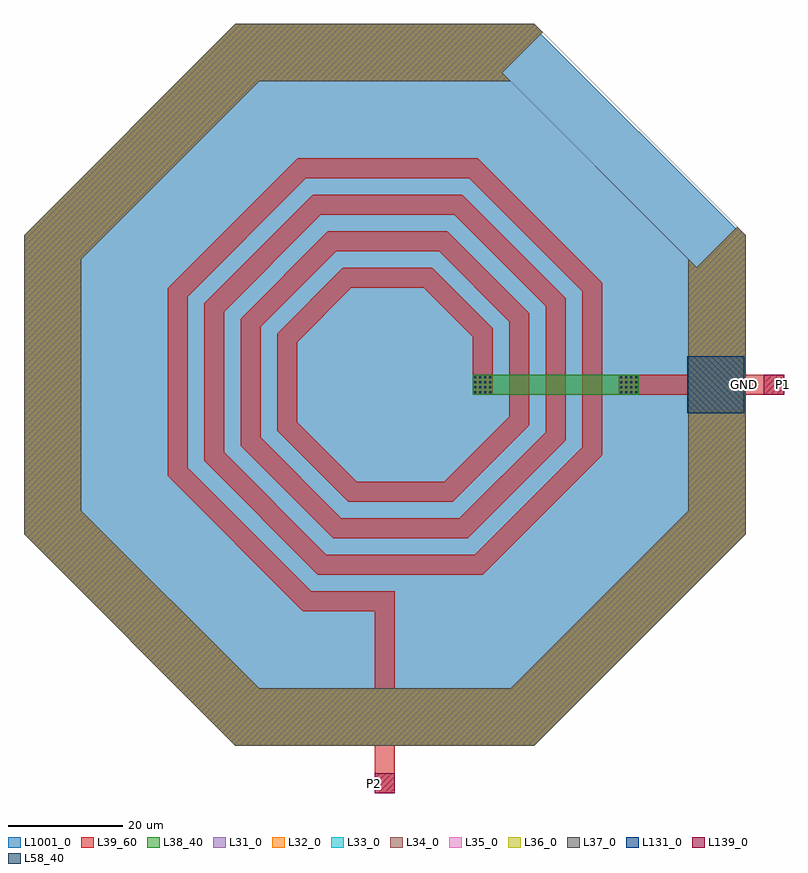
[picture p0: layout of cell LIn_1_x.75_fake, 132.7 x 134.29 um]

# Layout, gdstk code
import gdstk
lib = gdstk.Library(unit=1e-6, precision=1e-09)
def R(c, l, rs):  # rectangles x0, y0, x1, y1
    for r in rs: c.add(gdstk.rectangle(r[:2], r[2:], *l))
def A(c, l, x, y, w, h, nx, ny, dx, dy):  # array of equal rectangles
    R(c, l, [(x+i*dx, y+j*dy, x+i*dx+w, y+j*dy+h) for i in range(nx) for j in range(ny)])
def P(c, l, *ps):  # polygons
    for p in ps: c.add(gdstk.Polygon(p, *l))
L31_0 = (31, 0)
L32_0 = (32, 0)
L33_0 = (33, 0)
L34_0 = (34, 0)
L35_0 = (35, 0)
L36_0 = (36, 0)
L37_0 = (37, 0)
L38_40 = (38, 40)
L39_60 = (39, 60)
L58_40 = (58, 40)
L131_0 = (131, 0)
L139_0 = (139, 0)
L1001_0 = (1001, 0)

lin_1_x_75_fake = lib.new_cell('LIn_1_x.75_fake')
P(lin_1_x_75_fake, L31_0, [(54.473,20.492),(61.544,27.563),(26.099,63.008),(-26.099,63.008),(-63.008,26.099),(-63.008,-26.099),(-26.099,-63.008),(26.099,-63.008),(63.008,-26.099),(63.008,26.099),(27.563,61.544),(20.492,54.473),(53.008,21.957),(53.008,-21.957),(21.957,-53.008),(-21.957,-53.008),(-53.008,-21.957),(-53.008,21.957),(-21.957,53.008),(21.957,53.008)])
P(lin_1_x_75_fake, L32_0, [(54.473,20.492),(61.544,27.563),(26.099,63.008),(-26.099,63.008),(-63.008,26.099),(-63.008,-26.099),(-26.099,-63.008),(26.099,-63.008),(63.008,-26.099),(63.008,26.099),(27.563,61.544),(20.492,54.473),(53.008,21.957),(53.008,-21.957),(21.957,-53.008),(-21.957,-53.008),(-53.008,-21.957),(-53.008,21.957),(-21.957,53.008),(21.957,53.008)])
P(lin_1_x_75_fake, L33_0, [(54.473,20.492),(61.544,27.563),(26.099,63.008),(-26.099,63.008),(-63.008,26.099),(-63.008,-26.099),(-26.099,-63.008),(26.099,-63.008),(63.008,-26.099),(63.008,26.099),(27.563,61.544),(20.492,54.473),(53.008,21.957),(53.008,-21.957),(21.957,-53.008),(-21.957,-53.008),(-53.008,-21.957),(-53.008,21.957),(-21.957,53.008),(21.957,53.008)])
P(lin_1_x_75_fake, L34_0, [(54.473,20.492),(61.544,27.563),(26.099,63.008),(-26.099,63.008),(-63.008,26.099),(-63.008,-26.099),(-26.099,-63.008),(26.099,-63.008),(63.008,-26.099),(63.008,26.099),(27.563,61.544),(20.492,54.473),(53.008,21.957),(53.008,-21.957),(21.957,-53.008),(-21.957,-53.008),(-53.008,-21.957),(-53.008,21.957),(-21.957,53.008),(21.957,53.008)])
P(lin_1_x_75_fake, L35_0, [(54.473,20.492),(61.544,27.563),(26.099,63.008),(-26.099,63.008),(-63.008,26.099),(-63.008,-26.099),(-26.099,-63.008),(26.099,-63.008),(63.008,-26.099),(63.008,26.099),(27.563,61.544),(20.492,54.473),(53.008,21.957),(53.008,-21.957),(21.957,-53.008),(-21.957,-53.008),(-53.008,-21.957),(-53.008,21.957),(-21.957,53.008),(21.957,53.008)])
P(lin_1_x_75_fake, L36_0, [(54.473,20.492),(61.544,27.563),(26.099,63.008),(-26.099,63.008),(-63.008,26.099),(-63.008,-26.099),(-26.099,-63.008),(26.099,-63.008),(63.008,-26.099),(63.008,26.099),(27.563,61.544),(20.492,54.473),(53.008,21.957),(53.008,-21.957),(21.957,-53.008),(-21.957,-53.008),(-53.008,-21.957),(-53.008,21.957),(-21.957,53.008),(21.957,53.008)])
P(lin_1_x_75_fake, L37_0, [(54.473,20.492),(61.544,27.563),(26.099,63.008),(-26.099,63.008),(-63.008,26.099),(-63.008,-26.099),(-26.099,-63.008),(26.099,-63.008),(63.008,-26.099),(63.008,26.099),(27.563,61.544),(20.492,54.473),(53.008,21.957),(53.008,-21.957),(21.957,-53.008),(-21.957,-53.008),(-53.008,-21.957),(-53.008,21.957),(-21.957,53.008),(21.957,53.008)])
R(lin_1_x_75_fake, L38_40, [(15.32,-1.75,44.32,1.75)])
P(lin_1_x_75_fake, L38_40, [(54.473,20.492),(61.544,27.563),(26.099,63.008),(-26.099,63.008),(-63.008,26.099),(-63.008,-26.099),(-26.099,-63.008),(26.099,-63.008),(63.008,-26.099),(63.008,26.099),(27.563,61.544),(20.492,54.473),(53.008,21.957),(53.008,-21.957),(21.957,-53.008),(-21.957,-53.008),(-53.008,-21.957),(-53.008,21.957),(-21.957,53.008),(21.957,53.008)])
R(lin_1_x_75_fake, L39_60, [(-1.75,-71.285,1.75,-36.035), (40.82,-1.75,69.695,1.75)])
P(lin_1_x_75_fake, L39_60, [(15.32,-1.75),(18.82,-1.75),(18.82,9.855),(8.26,20.41),(-7.33,20.41),(-18.82,8.92),(-18.82,-7.99),(-6.395,-20.41),(11.835,-20.41),(25.195,-7.055),(25.195,12.495),(10.905,26.785),(-9.97,26.785),(-25.195,11.565),(-25.195,-10.63),(-9.035,-26.785),(14.475,-26.785),(31.57,-9.695),(31.57,15.135),(13.545,33.16),(-12.61,33.16),(-31.57,14.205),(-31.57,-13.27),(-11.675,-33.16),(17.115,-33.16),(37.945,-12.335),(37.945,17.775),(16.185,39.535),(-15.25,39.535),(-37.945,16.845),(-37.945,-15.91),(-14.315,-39.535),(0,-39.535),(0,-36.035),(-12.865,-36.035),(-34.445,-14.46),(-34.445,15.395),(-13.8,36.035),(14.735,36.035),(34.445,16.325),(34.445,-10.885),(15.665,-29.66),(-10.225,-29.66),(-28.07,-11.82),(-28.07,12.755),(-11.16,29.66),(12.095,29.66),(28.07,13.685),(28.07,-8.245),(13.025,-23.285),(-7.585,-23.285),(-21.695,-9.18),(-21.695,10.115),(-8.52,23.285),(9.455,23.285),(21.695,11.045),(21.695,-5.605),(10.385,-16.91),(-4.945,-16.91),(-15.32,-6.54),(-15.32,7.47),(-5.88,16.91),(6.81,16.91),(15.32,8.405)],
  [(54.473,20.492),(61.544,27.563),(26.099,63.008),(-26.099,63.008),(-63.008,26.099),(-63.008,-26.099),(-26.099,-63.008),(26.099,-63.008),(63.008,-26.099),(63.008,26.099),(27.563,61.544),(20.492,54.473),(53.008,21.957),(53.008,-21.957),(21.957,-53.008),(-21.957,-53.008),(-53.008,-21.957),(-53.008,21.957),(-21.957,53.008),(21.957,53.008)])
A(lin_1_x_75_fake, L58_40, 15.589, -1.48, 0.35, 0.35, 4, 4, 0.87, 0.87)
A(lin_1_x_75_fake, L58_40, 41.089, -1.48, 0.35, 0.35, 4, 4, 0.87, 0.87)
R(lin_1_x_75_fake, L131_0, [(52.785,-5,62.785,5)])
R(lin_1_x_75_fake, L139_0, [(-1.75,-71.285,1.75,-67.785), (66.195,-1.75,69.695,1.75)])
P(lin_1_x_75_fake, L1001_0, [(62.627,25.941),(25.941,62.627),(-25.941,62.627),(-62.627,25.941),(-62.627,-25.941),(-25.941,-62.627),(25.941,-62.627),(62.627,-25.941)],
  [(62.627,25.941),(25.941,62.627),(-25.941,62.627),(-62.627,25.941),(-62.627,-25.941),(-25.941,-62.627),(25.941,-62.627),(62.627,-25.941)],
  [(62.627,25.941),(25.941,62.627),(-25.941,62.627),(-62.627,25.941),(-62.627,-25.941),(-25.941,-62.627),(25.941,-62.627),(62.627,-25.941)],
  [(62.627,25.941),(25.941,62.627),(-25.941,62.627),(-62.627,25.941),(-62.627,-25.941),(-25.941,-62.627),(25.941,-62.627),(62.627,-25.941)],
  [(62.627,25.941),(25.941,62.627),(-25.941,62.627),(-62.627,25.941),(-62.627,-25.941),(-25.941,-62.627),(25.941,-62.627),(62.627,-25.941)],
  [(62.627,25.941),(25.941,62.627),(-25.941,62.627),(-62.627,25.941),(-62.627,-25.941),(-25.941,-62.627),(25.941,-62.627),(62.627,-25.941)],
  [(62.627,25.941),(25.941,62.627),(-25.941,62.627),(-62.627,25.941),(-62.627,-25.941),(-25.941,-62.627),(25.941,-62.627),(62.627,-25.941)],
  [(62.627,25.941),(25.941,62.627),(-25.941,62.627),(-62.627,25.941),(-62.627,-25.941),(-25.941,-62.627),(25.941,-62.627),(62.627,-25.941)],
  [(62.627,25.941),(25.941,62.627),(-25.941,62.627),(-62.627,25.941),(-62.627,-25.941),(-25.941,-62.627),(25.941,-62.627),(62.627,-25.941)])
lin_1_x_75_fake.add(gdstk.Label('P1', (69.694,0), layer=139, texttype=0))
lin_1_x_75_fake.add(gdstk.Label('P2', (-1.75,-69.537), layer=139, texttype=0))
lin_1_x_75_fake.add(gdstk.Label('GND', (62.787,0), layer=131, texttype=0))

lib.write_gds('LIn_1_x.75_fake.gds')
